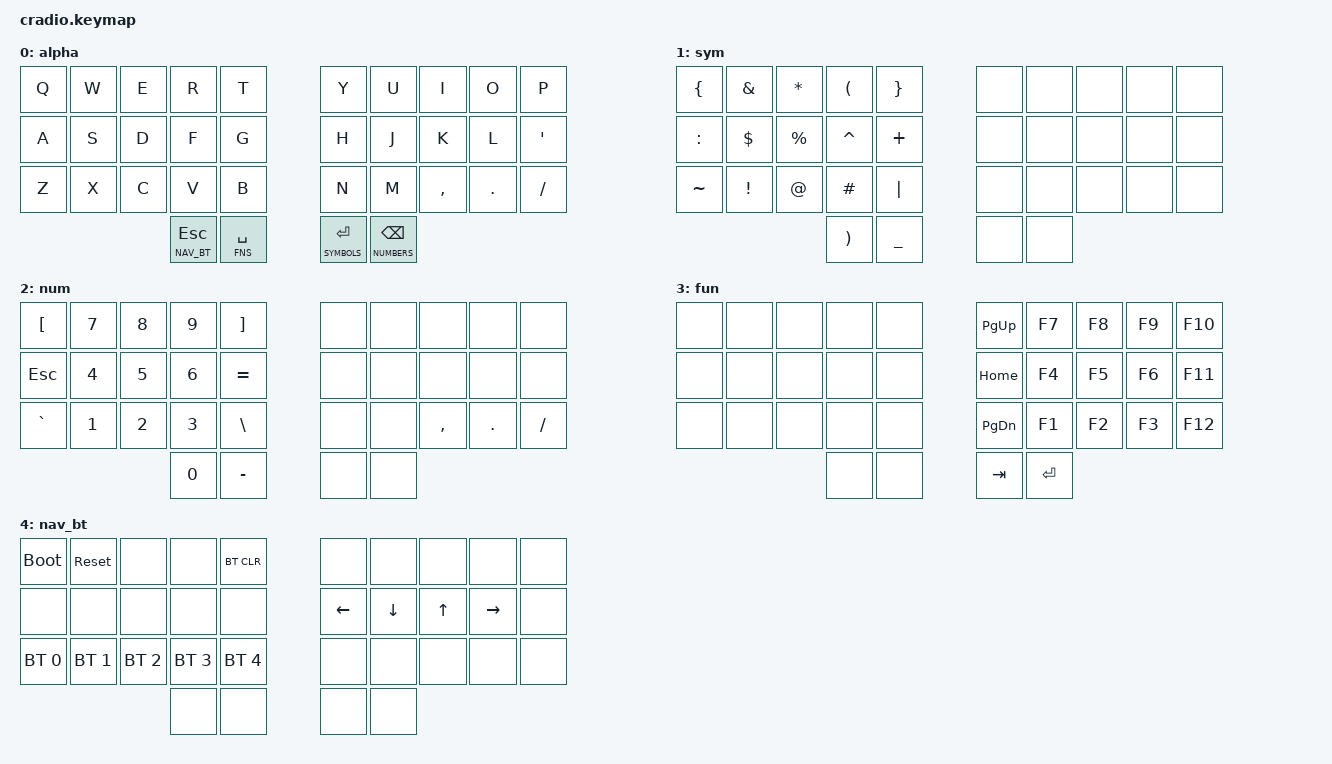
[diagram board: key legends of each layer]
// Copyright (c) 2022 The ZMK Contributors
// SPDX-License-Identifier: MIT

/*                KEY POSITIONS

  ╭────────────────────╮ ╭────────────────────╮
  │  0   1   2   3   4 │ │  5   6   7   8   9 │
  │ 10  11  12  13  14 │ │ 15  16  17  18  19 │
  │ 20  21  22  23  24 │ │ 25  26  27  28  29 │
  ╰───────────╮ 30  31 │ │ 32  33 ╭───────────╯
              ╰────────╯ ╰────────╯            */

#include <behaviors.dtsi>
#include <dt-bindings/zmk/keys.h>
#include <dt-bindings/zmk/bt.h>

#define DEFAULT 0
#define SYMBOLS 1
#define NUMBERS 2
#define FNS 3
#define NAV_BT 4

#define COMBO(NAME, BINDINGS, KEYPOS, LAYERS, TERM, QUICKTAP) \
        combo_##NAME { \
            bindings = <BINDINGS>; \
            key-positions = <KEYPOS>; \
            layers = <LAYERS>; \
            timeout-ms = <TERM>; \
        };

/ {
    combos {
        compatible = "zmk,combos";
        COMBO(tab,  &kp TAB,      0 1, DEFAULT SYMBOLS NUMBERS FNS NAV_BT, 50, 100)
        COMBO(colon,  &kp COLON,      3 4, DEFAULT SYMBOLS NUMBERS FNS NAV_BT, 50, 100)
        COMBO(caps,   &kp CAPS,       4 5, DEFAULT SYMBOLS NUMBERS FNS NAV_BT, 50, 100)
        COMBO(semi,   &kp SEMI,       5 6, DEFAULT SYMBOLS NUMBERS FNS NAV_BT, 50, 100)
        COMBO(del,    &kp DEL,        8 9, DEFAULT SYMBOLS NUMBERS FNS NAV_BT, 50, 100)
        COMBO(excl,   &kp EXCL,     14 15, DEFAULT SYMBOLS NUMBERS FNS NAV_BT, 50, 100)
        COMBO(lgui,   &kp LGUI,     10 20, DEFAULT SYMBOLS NUMBERS FNS NAV_BT, 50, 100)
        COMBO(lalt,   &kp LALT,     11 21, DEFAULT SYMBOLS NUMBERS FNS NAV_BT, 50, 100)
        COMBO(lctrl,   &kp LCTRL,     12 22, DEFAULT SYMBOLS NUMBERS FNS NAV_BT, 50, 100)
        COMBO(lshift,   &kp LSHIFT,     13 23, DEFAULT SYMBOLS NUMBERS FNS NAV_BT, 50, 100)
        COMBO(rshift,   &kp RSHIFT,     16 26, DEFAULT SYMBOLS NUMBERS FNS NAV_BT, 50, 100)
        COMBO(rctrl,   &kp RCTRL,     17 27, DEFAULT SYMBOLS NUMBERS FNS NAV_BT, 50, 100)
        COMBO(ralt,   &kp RALT,     18 28, DEFAULT SYMBOLS NUMBERS FNS NAV_BT, 50, 100)
        COMBO(rgui,   &kp RGUI,     19 29, DEFAULT SYMBOLS NUMBERS FNS NAV_BT, 50, 100)
    };

    keymap {
        compatible = "zmk,keymap";
        alpha {
            bindings = <
        //╭──────────┬──────────┬──────────┬──────────┬──────────╮   ╭──────────┬──────────┬──────────┬──────────┬──────────╮
        //│  Q       │  W       │  E       │  R       │  T       │   │  Y       │  U       │  I       │  O       │  P       │
            &kp Q      &kp W      &kp E      &kp R      &kp T          &kp Y      &kp U      &kp I      &kp O      &kp P
        //├──────────┼──────────┼──────────┼──────────┼──────────┤   ├──────────┼──────────┼──────────┼──────────┼──────────┤
        //│  A       │  S       │  D       │  F       │  G       │   │  H       │  J       │  K       │  L       │ ' "      │
            &kp A      &kp S      &kp D      &kp F      &kp G          &kp H      &kp J      &kp K      &kp L      &kp SQT
        //├──────────┼──────────┼──────────┼──────────┼──────────┤   ├──────────┼──────────┼──────────┼──────────┼──────────┤
        //│  Z       │  X       │  C       │  V       │  B       │   │  N       │  M       │ , <      │ . >      │ / ?      │
            &kp Z      &kp X      &kp C      &kp V      &kp B          &kp N      &kp M      &kp COMMA  &kp DOT    &kp FSLH
        //╰──────────┴──────────┴──────────┼──────────┼──────────┤   ├──────────┼──────────┼──────────┴──────────┴──────────╯
                                    &lt NAV_BT ESCAPE  &lt FNS SPACE  &lt SYMBOLS  ENTER  &lt NUMBERS BSPC 
        //                                 ╰──────────┴──────────╯   ╰──────────┴──────────╯
            >;
        };

        sym {
            bindings = <
        //╭──────────┬──────────┬──────────┬──────────┬──────────╮   ╭──────────┬──────────┬──────────┬──────────┬──────────╮
        //│ {        │  &       │  *       │  (       │  }       │   │          │          │          │          │          │
            &kp LBRC    &kp AMPS   &kp STAR   &kp LPAR   &kp RBRC       &none    &none      &none      &none      &none 
        //├──────────┼──────────┼──────────┼──────────┼──────────┤   ├──────────┼──────────┼──────────┼──────────┼──────────┤
        //│ :        │  $       │  %       │  ^       │  +       │   │          │          │          │          │          │
            &kp COLON    &kp DLLR   &kp PRCNT  &kp CARET  &kp PLUS      &none    &none      &none      &none      &none 
        //├──────────┼──────────┼──────────┼──────────┼──────────┤   ├──────────┼──────────┼──────────┼──────────┼──────────┤
        //│ ~        │  !       │  @       │  hash    │  |       │   │          │          │          │          │          │
            &kp TILDE   &kp EXCL  &kp AT     &kp HASH  &kp PIPE         &none    &none      &none      &none      &none 
        //╰──────────┴──────────┴──────────┼──────────┼──────────┤   ├──────────┼──────────┼──────────┴──────────┴──────────╯
        //                                    )         _
                                            &kp RPAR &kp UNDER          &none    &none   
        //                                 ╰──────────┴──────────╯   ╰──────────┴──────────╯
            >;
        };

        num {
            bindings = <
        //╭──────────┬──────────┬──────────┬──────────┬──────────╮   ╭──────────┬──────────┬──────────┬──────────┬──────────╮
        //│ [        │  7       │  8       │  9       │   ]      │   │          │          │          │          │          │
            &kp LBKT    &kp N7     &kp N8     &kp N9      &kp RBKT          &none    &none      &none      &none      &none 
        //├──────────┼──────────┼──────────┼──────────┼──────────┤   ├──────────┼──────────┼──────────┼──────────┼──────────┤
        //│ ESCAPE   │  4       │  5       │  6       │  =       │   │          │          │          │          │          │
            &kp ESC    &kp N4     &kp N5     &kp N6      &kp EQUAL          &none    &none      &none      &none      &none 
        //├──────────┼──────────┼──────────┼──────────┼──────────┤   ├──────────┼──────────┼──────────┼──────────┼──────────┤
        //│ `        │  1       │  2       │  3       │  \       │   │          │          │     ,    │     .    │    /     │
            &kp GRAVE  &kp N1     &kp N2     &kp N3      &kp BSLH         &none    &none      &kp COMMA  &kp DOT    &kp FSLH 
        //╰──────────┴──────────┴──────────┼──────────┼──────────┤   ├──────────┼──────────┼──────────┴──────────┴──────────╯
                                            &kp N0  &kp MINUS           &none    &none  
        //                                 ╰──────────┴──────────╯   ╰──────────┴──────────╯
            >;
        };

        fun {
            bindings = <
        //╭──────────┬──────────┬──────────┬──────────┬──────────╮   ╭──────────┬──────────┬──────────┬──────────┬──────────╮
        //│          │          │          │          │          │   │          │          │          │          │          │
               &none    &none      &none      &none      &none         &kp PG_UP   &kp F7     &kp F8     &kp F9    &kp F10    
        //├──────────┼──────────┼──────────┼──────────┼──────────┤   ├──────────┼──────────┼──────────┼──────────┼──────────┤
        //│          │          │          │          │          │   │          │          │          │          │          │
               &none    &none      &none      &none      &none         &kp HOME    &kp F4     &kp F5      &kp F6    &kp F11   
        //├──────────┼──────────┼──────────┼──────────┼──────────┤   ├──────────┼──────────┼──────────┼──────────┼──────────┤
        //│          │          │          │          │          │   │          │          │          │          │          │
               &none    &none      &none      &none      &none         &kp PG_DN   &kp F1     &kp F2      &kp F3    &kp F12   
        //├──────────┼──────────┼──────────┴──────────┴──────────╯   ╰──────────┴──────────┴──────────┼──────────┼──────────┤
                                            &none        &none         &kp TAB      &kp ENTER
        //                                 ╰──────────┴──────────╯   ╰──────────┴──────────╯
            >;
        };

        nav_bt {
            bindings = <
        //╭──────────┬──────────┬──────────┬──────────┬──────────╮   ╭──────────┬──────────┬──────────┬──────────┬──────────╮
        //│          │          │          │          │          │   │          │          │          │          │  BSPC    │
            &bootloader &sys_reset &none     &none    &bt BT_CLR      &none   &none         &none       &none     &none
        //├──────────┼──────────┼──────────┼──────────┼──────────┤   ├──────────┼──────────┼──────────┼──────────┼──────────┤
        //│          │          │          │          │          │   │          │          │          │          │  ENTER   │
            &none      &none       &none     &none       &none        &kp LEFT      &kp DOWN   &kp UP    &kp RIGHT &none
        //├──────────┼──────────┼──────────┼──────────┼──────────┤   ├──────────┼──────────┼──────────┼──────────┼──────────┤
        //│          │          │          │          │          │   │          │          │          │          │          │
    &bt BT_SEL 0  &bt BT_SEL 1 &bt BT_SEL 2 &bt BT_SEL 3 &bt BT_SEL 4      &none      &none      &none      &none      &none 
        //╰──────────┴──────────┴──────────┼──────────┼──────────┤   ├──────────┼──────────┼──────────┴──────────┴──────────╯
                                            &none   &none              &none      &none 
        //                                 ╰──────────┴──────────╯   ╰──────────┴──────────╯
            >;
        };
    };
};
